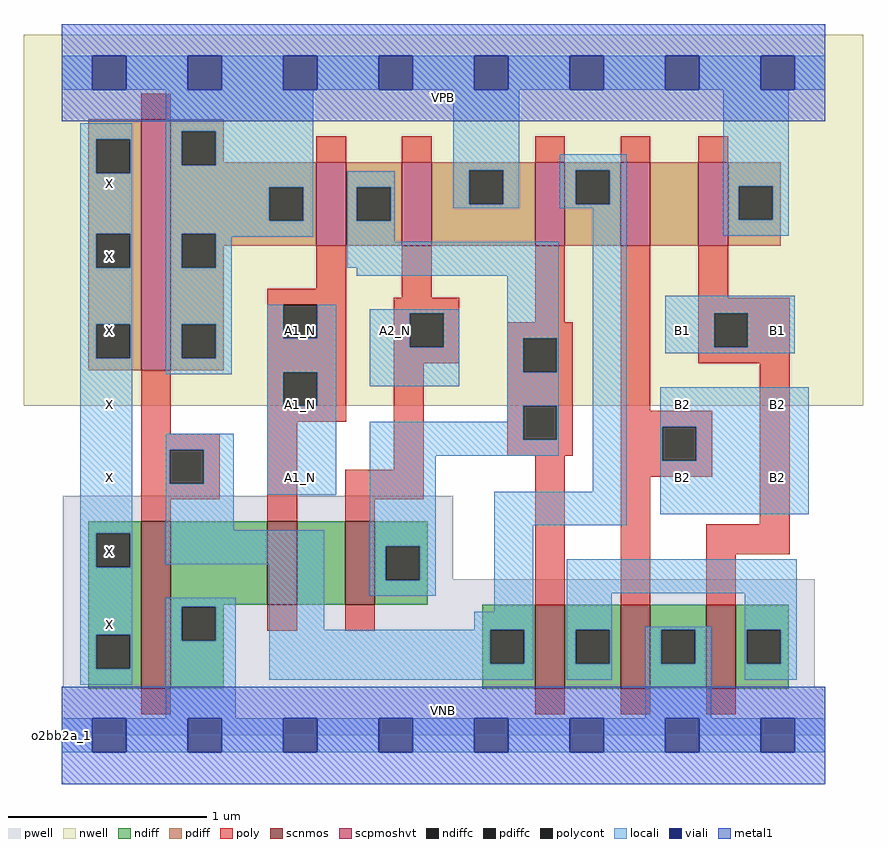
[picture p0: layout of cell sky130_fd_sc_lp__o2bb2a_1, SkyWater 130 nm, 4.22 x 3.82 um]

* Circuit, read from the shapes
.subckt sky130_fd_sc_lp__o2bb2a_1 A1_N A2_N B1 B2 VGND VNB VPB VPWR X
XM1 VGND n1 X VNB sky130_fd_pr__nfet_01v8 w=0.84 l=0.15
XM2 n2 A1_N VGND VNB sky130_fd_pr__nfet_01v8 w=0.42 l=0.15
XM3 n3 A2_N n2 VNB sky130_fd_pr__nfet_01v8 w=0.42 l=0.15
XM4 n4 n3 n1 VNB sky130_fd_pr__nfet_01v8 w=0.42 l=0.15
XM5 VGND B2 n4 VNB sky130_fd_pr__nfet_01v8 w=0.42 l=0.15
XM6 n4 B1 VGND VNB sky130_fd_pr__nfet_01v8 w=0.42 l=0.15
XM7 VPWR n1 X VPB sky130_fd_pr__pfet_01v8_hvt w=1.26 l=0.15
XM8 n3 A1_N VPWR VPB sky130_fd_pr__pfet_01v8_hvt w=0.42 l=0.15
XM9 VPWR A2_N n3 VPB sky130_fd_pr__pfet_01v8_hvt w=0.42 l=0.15
XM10 n1 n3 VPWR VPB sky130_fd_pr__pfet_01v8_hvt w=0.42 l=0.15
XM11 n5 B2 n1 VPB sky130_fd_pr__pfet_01v8_hvt w=0.42 l=0.15
XM12 VPWR B1 n5 VPB sky130_fd_pr__pfet_01v8_hvt w=0.42 l=0.15
.ends

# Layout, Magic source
magic
tech sky130A
magscale 1 2
<< nwell >>
rect -38 331 806 704
<< pwell >>
rect 1 157 394 241
rect 1 49 757 157
rect 0 0 768 49
<< scnmos >>
rect 80 47 110 215
rect 207 131 237 215
rect 285 131 315 215
rect 476 47 506 131
rect 562 47 592 131
rect 648 47 678 131
<< scpmoshvt >>
rect 80 367 110 619
rect 256 492 286 576
rect 342 492 372 576
rect 476 492 506 576
rect 562 492 592 576
rect 640 492 670 576
<< ndiff >>
rect 27 203 80 215
rect 27 169 35 203
rect 69 169 80 203
rect 27 101 80 169
rect 27 67 35 101
rect 69 67 80 101
rect 27 47 80 67
rect 110 131 207 215
rect 237 131 285 215
rect 315 190 368 215
rect 315 156 326 190
rect 360 156 368 190
rect 315 131 368 156
rect 110 129 163 131
rect 110 95 121 129
rect 155 95 163 129
rect 423 106 476 131
rect 110 47 163 95
rect 423 72 431 106
rect 465 72 476 106
rect 423 47 476 72
rect 506 106 562 131
rect 506 72 517 106
rect 551 72 562 106
rect 506 47 562 72
rect 592 106 648 131
rect 592 72 603 106
rect 637 72 648 106
rect 592 47 648 72
rect 678 106 731 131
rect 678 72 689 106
rect 723 72 731 106
rect 678 47 731 72
<< pdiff >>
rect 27 599 80 619
rect 27 565 35 599
rect 69 565 80 599
rect 27 504 80 565
rect 27 470 35 504
rect 69 470 80 504
rect 27 413 80 470
rect 27 379 35 413
rect 69 379 80 413
rect 27 367 80 379
rect 110 607 163 619
rect 110 573 121 607
rect 155 576 163 607
rect 155 573 256 576
rect 110 551 256 573
rect 110 517 209 551
rect 243 517 256 551
rect 110 504 256 517
rect 110 470 121 504
rect 155 492 256 504
rect 286 551 342 576
rect 286 517 297 551
rect 331 517 342 551
rect 286 492 342 517
rect 372 568 476 576
rect 372 534 410 568
rect 444 534 476 568
rect 372 492 476 534
rect 506 568 562 576
rect 506 534 517 568
rect 551 534 562 568
rect 506 492 562 534
rect 592 492 640 576
rect 670 552 723 576
rect 670 518 681 552
rect 715 518 723 552
rect 670 492 723 518
rect 155 470 163 492
rect 110 413 163 470
rect 110 379 121 413
rect 155 379 163 413
rect 110 367 163 379
<< ndiffc >>
rect 35 169 69 203
rect 35 67 69 101
rect 326 156 360 190
rect 121 95 155 129
rect 431 72 465 106
rect 517 72 551 106
rect 603 72 637 106
rect 689 72 723 106
<< pdiffc >>
rect 35 565 69 599
rect 35 470 69 504
rect 35 379 69 413
rect 121 573 155 607
rect 209 517 243 551
rect 121 470 155 504
rect 297 517 331 551
rect 410 534 444 568
rect 517 534 551 568
rect 681 518 715 552
rect 121 379 155 413
<< poly >>
rect 80 619 110 645
rect 256 576 286 602
rect 342 576 372 602
rect 476 576 506 602
rect 562 576 592 602
rect 640 576 670 602
rect 256 449 286 492
rect 207 433 286 449
rect 342 440 372 492
rect 207 399 223 433
rect 257 399 286 433
rect 80 303 110 367
rect 207 365 286 399
rect 207 331 223 365
rect 257 331 286 365
rect 207 315 286 331
rect 334 424 400 440
rect 334 390 350 424
rect 384 390 400 424
rect 476 415 506 492
rect 334 374 400 390
rect 448 399 514 415
rect 80 287 159 303
rect 80 253 109 287
rect 143 253 159 287
rect 80 237 159 253
rect 80 215 110 237
rect 207 215 237 315
rect 334 267 364 374
rect 448 365 464 399
rect 498 365 514 399
rect 448 331 514 365
rect 448 297 464 331
rect 498 297 514 331
rect 448 281 514 297
rect 562 326 592 492
rect 640 440 670 492
rect 640 424 732 440
rect 640 390 656 424
rect 690 390 732 424
rect 640 374 732 390
rect 562 310 654 326
rect 285 237 364 267
rect 285 215 315 237
rect 476 131 506 281
rect 562 276 604 310
rect 638 276 654 310
rect 562 260 654 276
rect 562 131 592 260
rect 702 212 732 374
rect 648 182 732 212
rect 648 131 678 182
rect 207 105 237 131
rect 285 105 315 131
rect 80 21 110 47
rect 476 21 506 47
rect 562 21 592 47
rect 648 21 678 47
<< polycont >>
rect 223 399 257 433
rect 223 331 257 365
rect 350 390 384 424
rect 109 253 143 287
rect 464 365 498 399
rect 464 297 498 331
rect 656 390 690 424
rect 604 276 638 310
<< locali >>
rect 0 649 31 683
rect 65 649 127 683
rect 161 649 223 683
rect 257 649 319 683
rect 353 649 415 683
rect 449 649 511 683
rect 545 649 607 683
rect 641 649 703 683
rect 737 649 768 683
rect 19 599 71 615
rect 19 565 35 599
rect 69 565 71 599
rect 19 504 71 565
rect 19 470 35 504
rect 69 470 71 504
rect 19 413 71 470
rect 19 379 35 413
rect 69 379 71 413
rect 19 203 71 379
rect 105 607 253 649
rect 105 573 121 607
rect 155 573 253 607
rect 105 551 253 573
rect 394 568 460 649
rect 105 517 209 551
rect 243 517 253 551
rect 105 504 253 517
rect 105 470 121 504
rect 155 501 253 504
rect 287 551 335 567
rect 287 517 297 551
rect 331 517 335 551
rect 394 534 410 568
rect 444 534 460 568
rect 394 530 460 534
rect 501 568 568 584
rect 501 534 517 568
rect 551 534 568 568
rect 501 530 568 534
rect 155 470 171 501
rect 287 496 335 517
rect 287 470 500 496
rect 105 413 171 470
rect 297 462 500 470
rect 105 379 121 413
rect 155 379 171 413
rect 105 363 171 379
rect 207 399 223 433
rect 257 399 276 433
rect 207 365 276 399
rect 207 331 223 365
rect 257 331 276 365
rect 310 424 400 428
rect 310 390 350 424
rect 384 390 400 424
rect 310 351 400 390
rect 448 399 500 462
rect 448 365 464 399
rect 498 365 500 399
rect 19 169 35 203
rect 69 169 71 203
rect 105 287 173 303
rect 105 253 109 287
rect 143 253 173 287
rect 105 206 173 253
rect 207 242 276 331
rect 448 331 500 365
rect 448 315 464 331
rect 310 297 464 315
rect 498 297 500 331
rect 310 281 500 297
rect 105 172 264 206
rect 19 101 71 169
rect 19 67 35 101
rect 69 67 71 101
rect 19 51 71 67
rect 105 129 175 138
rect 105 95 121 129
rect 155 95 175 129
rect 105 17 175 95
rect 209 106 264 172
rect 310 190 376 281
rect 534 245 568 530
rect 665 552 731 649
rect 665 518 681 552
rect 715 518 731 552
rect 665 502 731 518
rect 607 424 737 442
rect 607 390 656 424
rect 690 390 737 424
rect 607 384 737 390
rect 310 156 326 190
rect 360 156 376 190
rect 310 140 376 156
rect 435 211 568 245
rect 602 310 751 350
rect 602 276 604 310
rect 638 276 751 310
rect 602 222 751 276
rect 435 124 474 211
rect 415 106 474 124
rect 209 72 431 106
rect 465 72 474 106
rect 209 56 474 72
rect 508 143 739 177
rect 508 106 553 143
rect 508 72 517 106
rect 551 72 553 106
rect 508 56 553 72
rect 587 106 653 109
rect 587 72 603 106
rect 637 72 653 106
rect 587 17 653 72
rect 687 106 739 143
rect 687 72 689 106
rect 723 72 739 106
rect 687 56 739 72
rect 0 -17 31 17
rect 65 -17 127 17
rect 161 -17 223 17
rect 257 -17 319 17
rect 353 -17 415 17
rect 449 -17 511 17
rect 545 -17 607 17
rect 641 -17 703 17
rect 737 -17 768 17
<< viali >>
rect 31 649 65 683
rect 127 649 161 683
rect 223 649 257 683
rect 319 649 353 683
rect 415 649 449 683
rect 511 649 545 683
rect 607 649 641 683
rect 703 649 737 683
rect 31 -17 65 17
rect 127 -17 161 17
rect 223 -17 257 17
rect 319 -17 353 17
rect 415 -17 449 17
rect 511 -17 545 17
rect 607 -17 641 17
rect 703 -17 737 17
<< metal1 >>
rect 0 683 768 715
rect 0 649 31 683
rect 65 649 127 683
rect 161 649 223 683
rect 257 649 319 683
rect 353 649 415 683
rect 449 649 511 683
rect 545 649 607 683
rect 641 649 703 683
rect 737 649 768 683
rect 0 617 768 649
rect 0 17 768 49
rect 0 -17 31 17
rect 65 -17 127 17
rect 161 -17 223 17
rect 257 -17 319 17
rect 353 -17 415 17
rect 449 -17 511 17
rect 545 -17 607 17
rect 641 -17 703 17
rect 737 -17 768 17
rect 0 -49 768 -17
<< labels >>
flabel pwell s 0 0 768 49 0 FreeSans 200 0 0 0 VNB
port 6 nsew ground bidirectional
flabel nwell s 0 617 768 666 0 FreeSans 200 0 0 0 VPB
port 7 nsew power bidirectional
rlabel comment s 0 0 0 0 4 o2bb2a_1
flabel metal1 s 0 617 768 666 0 FreeSans 340 0 0 0 VPWR
port 8 nsew power bidirectional
flabel metal1 s 0 0 768 49 0 FreeSans 340 0 0 0 VGND
port 5 nsew ground bidirectional
flabel locali s 31 94 65 128 0 FreeSans 340 0 0 0 X
port 9 nsew signal output
flabel locali s 31 168 65 202 0 FreeSans 340 0 0 0 X
port 9 nsew signal output
flabel locali s 31 242 65 276 0 FreeSans 340 0 0 0 X
port 9 nsew signal output
flabel locali s 31 316 65 350 0 FreeSans 340 0 0 0 X
port 9 nsew signal output
flabel locali s 31 390 65 424 0 FreeSans 340 0 0 0 X
port 9 nsew signal output
flabel locali s 31 464 65 498 0 FreeSans 340 0 0 0 X
port 9 nsew signal output
flabel locali s 31 538 65 572 0 FreeSans 340 0 0 0 X
port 9 nsew signal output
flabel locali s 223 242 257 276 0 FreeSans 340 0 0 0 A1_N
port 1 nsew signal input
flabel locali s 223 316 257 350 0 FreeSans 340 0 0 0 A1_N
port 1 nsew signal input
flabel locali s 223 390 257 424 0 FreeSans 340 0 0 0 A1_N
port 1 nsew signal input
flabel locali s 319 390 353 424 0 FreeSans 340 0 0 0 A2_N
port 2 nsew signal input
flabel locali s 607 390 641 424 0 FreeSans 340 0 0 0 B1
port 3 nsew signal input
flabel locali s 703 390 737 424 0 FreeSans 340 0 0 0 B1
port 3 nsew signal input
flabel locali s 607 242 641 276 0 FreeSans 340 0 0 0 B2
port 4 nsew signal input
flabel locali s 607 316 641 350 0 FreeSans 340 0 0 0 B2
port 4 nsew signal input
flabel locali s 703 242 737 276 0 FreeSans 340 0 0 0 B2
port 4 nsew signal input
flabel locali s 703 316 737 350 0 FreeSans 340 0 0 0 B2
port 4 nsew signal input
<< properties >>
string LEFsite unit
string LEFclass CORE
string FIXED_BBOX 0 0 768 666
string GDS_FILE $PDKPATH/libs.ref/sky130_fd_sc_lp/gds/sky130_fd_sc_lp.gds
string LEFsymmetry X Y R90
string GDS_END 3625414
string GDS_START 3617138
<< end >>
